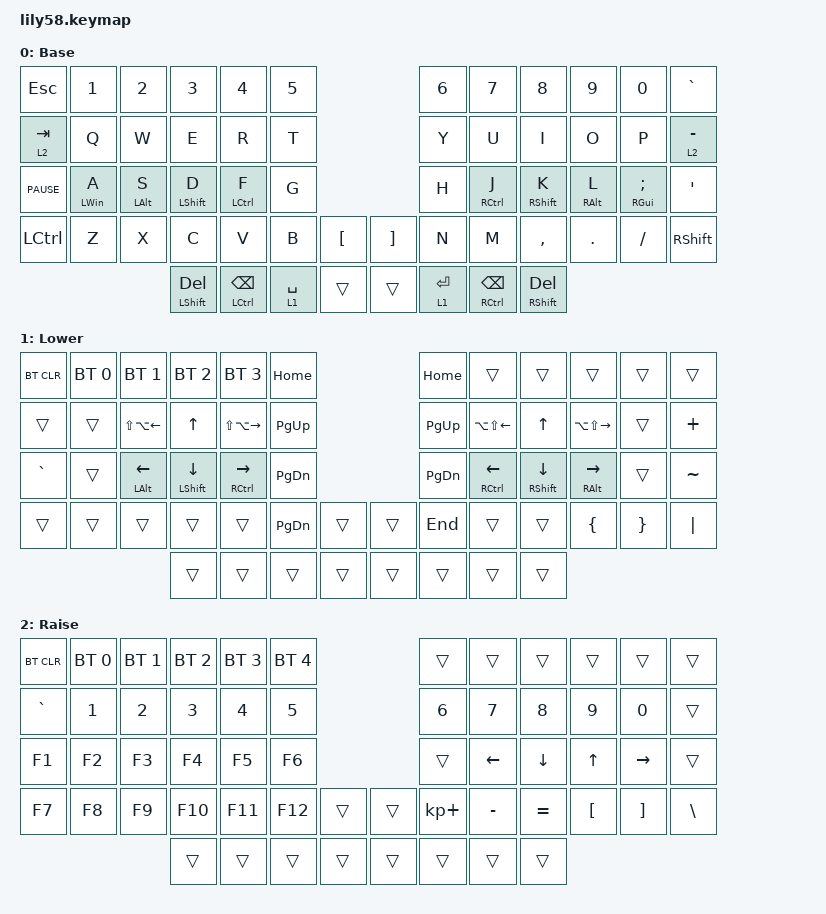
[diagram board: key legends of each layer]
/*
 * Copyright (c) 2020 The ZMK Contributors
 *
 * SPDX-License-Identifier: MIT
 */

#include <behaviors.dtsi>
#include <dt-bindings/zmk/bt.h>
#include <dt-bindings/zmk/keys.h>

/ {
    behaviors {
        hmr: home_row_mod_right {
            compatible = "zmk,behavior-hold-tap";
            #binding-cells = <2>;
            flavor = "balanced";
            require-prior-idle-ms = <150>;
            tapping-term-ms = <280>;
            quick-tap-ms = <175>;
            bindings = <&kp>, <&kp>;

            // Left half key positions

            hold-trigger-key-positions = <0 1 2 3 4 5 12 13 14 15 16 17 24 25 26 27 28 29 36 37 38 39 40 41 42 50 51 52 53>;
            hold-trigger-on-release;
        };

        hml: home_row_mod_left {
            compatible = "zmk,behavior-hold-tap";
            #binding-cells = <2>;
            flavor = "balanced";
            require-prior-idle-ms = <150>;
            tapping-term-ms = <280>;
            quick-tap-ms = <175>;
            bindings = <&kp>, <&kp>;

            // Right half key positions

            hold-trigger-key-positions = <30 31 32 33 34 35 43 44 45 46 47 48 49 54 55 56 57 58 59 6 7 8 9 10 11 18 19 20 21 22 23 30 31 32 33 34 35 43 44 45 46 47 48 49 54 55 56 57>;
            hold-trigger-on-release;
        };
    };

    combos {
        compatible = "zmk,combos";

        parentheses_left {
            bindings = <&kp LPAR>;
            key-positions = <4 5>;
        };

        left_square_brackets {
            bindings = <&kp LEFT_BRACKET>;
            key-positions = <16 17>;
        };

        left_curly_brackets {
            bindings = <&kp LBRC>;
            key-positions = <28 29>;
        };

        less_than {
            bindings = <&kp LESS_THAN>;
            key-positions = <40 41>;
        };

        parentheses_right {
            bindings = <&kp RPAR>;
            key-positions = <6 7>;
        };

        right_square_brackets {
            bindings = <&kp RIGHT_BRACKET>;
            key-positions = <18 19>;
        };

        right_curly_brackets {
            bindings = <&kp RBRC>;
            key-positions = <30 31>;
        };

        more_than {
            bindings = <&kp GT>;
            key-positions = <44 45>;
        };
    };

    keymap {
        compatible = "zmk,keymap";

        default_layer {
            // ------------------------------------------------------------------------------------------------------------
            // |  ESC  |  1  |  2  |  3   |  4   |  5   |                   |  6   |  7    |  8    |  9   |   0   |   `   |
            // |  TAB  |  Q  |  W  |  E   |  R   |  T   |                   |  Y   |  U    |  I    |  O   |   P   |   -   |
            // |  CTRL |  A  |  S  |  D   |  F   |  G   |                   |  H   |  J    |  K    |  L   |   ;   |   '   |
            // | SHIFT |  Z  |  X  |  C   |  V   |  B   |   "["  |  |  "]"  |  N   |  M    |  ,    |  .   |   /   | SHIFT |
            //                     | ALT  | GUI  | LOWER|  SPACE |  | ENTER | RAISE| BSPC  | GUI   |

            display-name = "Base";
            bindings = <
&kp ESC      &kp N1           &kp N2           &kp N3              &kp N4               &kp N5                             &kp N6       &kp N7                       &kp N8               &kp N9            &kp N0               &kp GRAVE
&lt 2 TAB    &kp Q            &kp W            &kp E               &kp R                &kp T                              &kp Y        &kp U                        &kp I                &kp O             &kp P                &lt 2 MINUS
&kp C_PAUSE  &hml LEFT_WIN A  &hml LEFT_ALT S  &hml LEFT_SHIFT D   &hml LCTRL F         &kp G                              &kp H        &hmr RCTRL J                 &hmr RIGHT_SHIFT K   &hmr RIGHT_ALT L  &hmr RIGHT_GUI SEMI  &kp SQT
&kp LCTRL    &kp Z            &kp X            &kp C               &kp V                &kp B        &kp LBKT    &kp RBKT  &kp N        &kp M                        &kp COMMA            &kp DOT           &kp FSLH             &kp RSHFT
                                               &mt LEFT_SHIFT DEL  &mt LCTRL BACKSPACE  &lt 1 SPACE  &trans      &trans    &lt 1 ENTER  &mt RIGHT_CONTROL BACKSPACE  &mt RIGHT_SHIFT DEL
            >;
        };

        lower_layer {
            // ------------------------------------------------------------------------------------------------------------
            // | BTCLR | BT1 | BT2 |  BT3 |  BT4 |  BT5 |                   |      |       |       |      |       |       |
            // |  F1   |  F2 |  F3 |  F4  |  F5  |  F6  |                   |  F7  |  F8   |  F9   |  F10 |  F11  |  F12  |
            // |   `   |  !  |  @  |  #   |  $   |  %   |                   |  ^   |  &    |  *    |  (   |   )   |   ~   |
            // |       |     |     |      |      |      |        |  |       |      |  _    |  +    |  {   |   }   |  "|"  |
            //                     |      |      |      |        |  |       |      |       |       |

            display-name = "Lower";
            bindings = <
&bt BT_CLR  &bt BT_SEL 0  &bt BT_SEL 1              &bt BT_SEL 2      &bt BT_SEL 3       &kp HOME                         &kp HOME       &trans                  &trans                       &trans             &trans    &trans
&trans      &trans        &kp LS(LA(LEFT_ARROW))    &kp UP            &kp LS(LA(RIGHT))  &kp PAGE_UP                      &kp PAGE_UP    &kp LA(LS(LEFT_ARROW))  &kp UP_ARROW                 &kp LA(LS(RIGHT))  &trans    &kp PLUS
&kp GRAVE   &trans        &hml LEFT_ALT LEFT_ARROW  &hml LSHIFT DOWN  &hml RCTRL RIGHT   &kp PAGE_DOWN                    &kp PAGE_DOWN  &hmr RCTRL LEFT         &hmr RIGHT_SHIFT DOWN_ARROW  &hmr RALT RIGHT    &trans    &kp TILDE
&trans      &trans        &trans                    &trans            &trans             &kp PAGE_DOWN  &trans    &trans  &kp END        &trans                  &trans                       &kp LBRC           &kp RBRC  &kp PIPE
                                                    &trans            &trans             &trans         &trans    &trans  &trans         &trans                  &trans
            >;
        };

        raise_layer {
            // ------------------------------------------------------------------------------------------------------------
            // |       |     |     |      |      |      |                   |      |       |       |      |       |       |
            // |   `   |  1  |  2  |  3   |  4   |  5   |                   |  6   |   7   |   8   |  9   |   0   |       |
            // |   F1  |  F2 |  F3 |  F4  |  F5  |  F6  |                   |      |   <-  |   v   |  ^   |  ->   |       |
            // |   F7  |  F8 |  F9 |  F10 |  F11 |  F12 |        |  |       |  +   |   -   |   =   |  [   |   ]   |   \   |
            //                     |      |      |      |        |  |       |      |       |       |

            display-name = "Raise";
            bindings = <
&bt BT_CLR  &bt BT_SEL 0  &bt BT_SEL 1  &bt BT_SEL 2  &bt BT_SEL 3  &bt BT_SEL 4                    &trans       &trans     &trans     &trans    &trans     &trans
&kp GRAVE   &kp N1        &kp N2        &kp N3        &kp N4        &kp N5                          &kp N6       &kp N7     &kp N8     &kp N9    &kp N0     &trans
&kp F1      &kp F2        &kp F3        &kp F4        &kp F5        &kp F6                          &trans       &kp LEFT   &kp DOWN   &kp UP    &kp RIGHT  &trans
&kp F7      &kp F8        &kp F9        &kp F10       &kp F11       &kp F12       &trans    &trans  &kp KP_PLUS  &kp MINUS  &kp EQUAL  &kp LBKT  &kp RBKT   &kp BSLH
                                        &trans        &trans        &trans        &trans    &trans  &trans       &trans     &trans
            >;
        };

        extra_1 { status = "reserved"; };

        extra_2 { status = "reserved"; };

        extra_3 { status = "reserved"; };
    };
};
